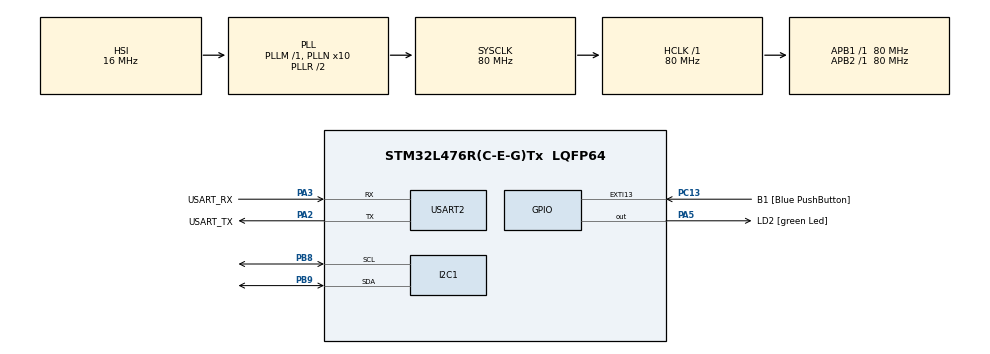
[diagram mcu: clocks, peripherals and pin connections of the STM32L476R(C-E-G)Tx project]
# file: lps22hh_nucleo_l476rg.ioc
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I2C1.Timing=0x10909CEC
Mcu.Family=STM32L4
Mcu.Name=STM32L476R(C-E-G)Tx
Mcu.Package=LQFP64
NVIC.PriorityGroup=NVIC_PRIORITYGROUP_4
PA13\ (JTMS-SWDIO).GPIO_Label=TMS
PA13\ (JTMS-SWDIO).Mode=Serial_Wire
PA13\ (JTMS-SWDIO).Signal=SYS_JTMS-SWDIO
PA14\ (JTCK-SWCLK).GPIO_Label=TCK
PA14\ (JTCK-SWCLK).Mode=Serial_Wire
PA14\ (JTCK-SWCLK).Signal=SYS_JTCK-SWCLK
PA2.GPIO_Label=USART_TX
PA2.GPIO_Mode=GPIO_MODE_AF_PP
PA2.GPIO_PuPd=GPIO_NOPULL
PA2.GPIO_Speed=GPIO_SPEED_FREQ_VERY_HIGH
PA2.Mode=Asynchronous
PA2.Signal=USART2_TX
PA3.GPIO_Label=USART_RX
PA3.GPIO_Mode=GPIO_MODE_AF_PP
PA3.GPIO_PuPd=GPIO_NOPULL
PA3.GPIO_Speed=GPIO_SPEED_FREQ_VERY_HIGH
PA3.Mode=Asynchronous
PA3.Signal=USART2_RX
PA5.GPIO_Label=LD2 [green Led]
PA5.GPIO_ModeDefaultOutputPP=GPIO_MODE_OUTPUT_PP
PA5.GPIO_PuPd=GPIO_NOPULL
PA5.GPIO_Speed=GPIO_SPEED_FREQ_LOW
PA5.Signal=GPIO_Output
PB3\ (JTDO-TRACESWO).GPIO_Label=SWO
PB3\ (JTDO-TRACESWO).Signal=SYS_JTDO-SWO
PB8.Mode=I2C
PB8.Signal=I2C1_SCL
PB9.Mode=I2C
PB9.Signal=I2C1_SDA
PC13.GPIO_Label=B1 [Blue PushButton]
PC13.GPIO_ModeDefaultEXTI=GPIO_MODE_IT_FALLING
PC13.GPIO_PuPd=GPIO_NOPULL
PC13.Signal=GPXTI13
PC14-OSC32_IN\ (PC14).Mode=LSE-External-Oscillator
PC14-OSC32_IN\ (PC14).Signal=RCC_OSC32_IN
PC15-OSC32_OUT\ (PC15).Mode=LSE-External-Oscillator
PC15-OSC32_OUT\ (PC15).Signal=RCC_OSC32_OUT
PH0-OSC_IN\ (PH0).Signal=RCC_OSC_IN
PH1-OSC_OUT\ (PH1).Signal=RCC_OSC_OUT
ProjectManager.HeapSize=0x200
ProjectManager.StackSize=0x400
ProjectManager.TargetToolchain=STM32CubeIDE
RCC.ADCFreq_Value=64000000
RCC.AHBFreq_Value=80000000
RCC.APB1Freq_Value=80000000
RCC.APB1TimFreq_Value=80000000
RCC.APB2Freq_Value=80000000
RCC.APB2TimFreq_Value=80000000
RCC.CortexFreq_Value=80000000
RCC.HCLKFreq_Value=80000000
RCC.HSE_VALUE=8000000
RCC.HSI_VALUE=16000000
RCC.MSI_VALUE=4000000
RCC.PLLN=10
RCC.PLLSourceVirtual=RCC_PLLSOURCE_HSI
RCC.PREFETCH_ENABLE=1
RCC.SYSCLKFreq_VALUE=80000000
RCC.SYSCLKSource=RCC_SYSCLKSOURCE_PLLCLK
RCC.USBFreq_Value=64000000
RCC.VCOOutputFreq_Value=160000000
USART2.VirtualMode-Asynchronous=VM_ASYNC
board=NUCLEO-L476RG

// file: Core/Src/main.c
/* USER CODE BEGIN Header */
/**
  ******************************************************************************
  * @file           : main.c
  * @brief          : Main program body
  ******************************************************************************
  * @attention
  *
  * Copyright (c) 2023 STMicroelectronics.
  * All rights reserved.
  *
  * This software is licensed under terms that can be found in the LICENSE file
  * in the root directory of this software component.
  * If no LICENSE file comes with this software, it is provided AS-IS.
  *
  ******************************************************************************
  */
/* USER CODE END Header */
#include "main.h"
#include "i2c.h"
#include "usart.h"
#include "gpio.h"

/* USER CODE BEGIN Includes */
#include <string.h>
#include <stdio.h>
#include "lps22hh_reg.h"
/* USER CODE END Includes */

/* USER CODE BEGIN PV */
static uint32_t data_raw_pressure;
static int16_t data_raw_temperature;
static float pressure_hPa;
static float temperature_degC;
static uint8_t whoamI, rst;
static uint8_t tx_buffer[1000];
/* USER CODE END PV */

void SystemClock_Config(void);
/* USER CODE BEGIN PFP */
#ifdef __GNUC__
/* With GCC/RAISONANCE, small printf (option LD Linker->Libraries->Small printf
set to 'Yes') calls __io_putchar() */
#define PUTCHAR_PROTOTYPE int __io_putchar(int ch)
#else
#define PUTCHAR_PROTOTYPE int fputc(int ch, FILE *f)
#endif /* __GNUC__ */
static int32_t platform_write(void *handle, uint8_t reg, const uint8_t *bufp,
                              uint16_t len);
static int32_t platform_read(void *handle, uint8_t reg, uint8_t *bufp,
                             uint16_t len);
/* USER CODE END PFP */

int main(void)
{
  /* USER CODE BEGIN 1 */
	stmdev_ctx_t dev_ctx;
	lps22hh_reg_t reg;
	/* Initialize mems driver interface */
	dev_ctx.write_reg = platform_write;
	dev_ctx.read_reg = platform_read;
	dev_ctx.handle = &hi2c1;
  /* USER CODE END 1 */

  /* MCU Configuration--------------------------------------------------------*/

  /* Reset of all peripherals, Initializes the Flash interface and the Systick. */
  HAL_Init();

  /* Configure the system clock */
  SystemClock_Config();

  /* Initialize all configured peripherals */
  MX_GPIO_Init();
  MX_I2C1_Init();
  MX_USART2_UART_Init();
  /* USER CODE BEGIN 2 */
  /* Check device ID */
    whoamI = 0;
    lps22hh_device_id_get(&dev_ctx, &whoamI);

    if ( whoamI != LPS22HH_ID )
      while (1); /*manage here device not found */

    /* Restore default configuration */
    lps22hh_reset_set(&dev_ctx, PROPERTY_ENABLE);

    do {
      lps22hh_reset_get(&dev_ctx, &rst);
    } while (rst);

    /* Enable Block Data Update */
    lps22hh_block_data_update_set(&dev_ctx, PROPERTY_ENABLE);
    /* Set Output Data Rate */
    lps22hh_data_rate_set(&dev_ctx, LPS22HH_10_Hz_LOW_NOISE);
  /* USER CODE END 2 */

  /* Infinite loop */
  while (1)
  {

    /* USER CODE BEGIN 3 */
	 /* Read output only if new value is available */
	 lps22hh_read_reg(&dev_ctx, LPS22HH_STATUS, (uint8_t *)&reg, 1);

	  if (reg.status.p_da) {
		memset(&data_raw_pressure, 0x00, sizeof(uint32_t));
		lps22hh_pressure_raw_get(&dev_ctx, &data_raw_pressure);
		pressure_hPa = lps22hh_from_lsb_to_hpa( data_raw_pressure);
		sprintf((char *)tx_buffer, "pressure [hPa]:%6.2f\r\n", pressure_hPa);
		printf((char *)tx_buffer);
	  }

	  if (reg.status.t_da) {
		memset(&data_raw_temperature, 0x00, sizeof(int16_t));
		lps22hh_temperature_raw_get(&dev_ctx, &data_raw_temperature);
		temperature_degC = lps22hh_from_lsb_to_celsius(
							 data_raw_temperature );
		sprintf((char *)tx_buffer, "temperature [degC]:%6.2f\r\n",
				temperature_degC );
		printf((char *)tx_buffer);
	  }
  }
  /* USER CODE END 3 */
}

void SystemClock_Config(void)
{
  RCC_OscInitTypeDef RCC_OscInitStruct = {0};
  RCC_ClkInitTypeDef RCC_ClkInitStruct = {0};

  /** Configure the main internal regulator output voltage
  */
  if (HAL_PWREx_ControlVoltageScaling(PWR_REGULATOR_VOLTAGE_SCALE1) != HAL_OK)
  {
    Error_Handler();
  }

  /** Initializes the RCC Oscillators according to the specified parameters
  * in the RCC_OscInitTypeDef structure.
  */
  RCC_OscInitStruct.OscillatorType = RCC_OSCILLATORTYPE_HSI;
  RCC_OscInitStruct.HSIState = RCC_HSI_ON;
  RCC_OscInitStruct.HSICalibrationValue = RCC_HSICALIBRATION_DEFAULT;
  RCC_OscInitStruct.PLL.PLLState = RCC_PLL_ON;
  RCC_OscInitStruct.PLL.PLLSource = RCC_PLLSOURCE_HSI;
  RCC_OscInitStruct.PLL.PLLM = 1;
  RCC_OscInitStruct.PLL.PLLN = 10;
  RCC_OscInitStruct.PLL.PLLP = RCC_PLLP_DIV7;
  RCC_OscInitStruct.PLL.PLLQ = RCC_PLLQ_DIV2;
  RCC_OscInitStruct.PLL.PLLR = RCC_PLLR_DIV2;
  if (HAL_RCC_OscConfig(&RCC_OscInitStruct) != HAL_OK)
  {
    Error_Handler();
  }

  /** Initializes the CPU, AHB and APB buses clocks
  */
  RCC_ClkInitStruct.ClockType = RCC_CLOCKTYPE_HCLK|RCC_CLOCKTYPE_SYSCLK
                              |RCC_CLOCKTYPE_PCLK1|RCC_CLOCKTYPE_PCLK2;
  RCC_ClkInitStruct.SYSCLKSource = RCC_SYSCLKSOURCE_PLLCLK;
  RCC_ClkInitStruct.AHBCLKDivider = RCC_SYSCLK_DIV1;
  RCC_ClkInitStruct.APB1CLKDivider = RCC_HCLK_DIV1;
  RCC_ClkInitStruct.APB2CLKDivider = RCC_HCLK_DIV1;

  if (HAL_RCC_ClockConfig(&RCC_ClkInitStruct, FLASH_LATENCY_4) != HAL_OK)
  {
    Error_Handler();
  }
}

/* USER CODE BEGIN 4 */
PUTCHAR_PROTOTYPE
{
	/* Place your implementation of fputc here */
	/* e.g. write a character to the USART2 and Loop until the end of transmission */
	HAL_UART_Transmit(&huart2, (uint8_t *)&ch, 1, 100);

	return ch;
}

static int32_t platform_write(void *handle, uint8_t reg, const uint8_t *bufp,
                              uint16_t len)
{
  HAL_I2C_Mem_Write(handle, LPS22HH_I2C_ADD_H, reg,
                    I2C_MEMADD_SIZE_8BIT, (uint8_t*) bufp, len, 1000);
  return 0;
}

/*
 * @brief  Read generic device register (platform dependent)
 *
 * @param  handle    customizable argument. In this examples is used in
 *                   order to select the correct sensor bus handler.
 * @param  reg       register to read
 * @param  bufp      pointer to buffer that store the data read
 * @param  len       number of consecutive register to read
 *
 */
static int32_t platform_read(void *handle, uint8_t reg, uint8_t *bufp,
                             uint16_t len)
{
  HAL_I2C_Mem_Read(handle, LPS22HH_I2C_ADD_H, reg,
                   I2C_MEMADD_SIZE_8BIT, bufp, len, 1000);
  return 0;
}
/* USER CODE END 4 */

void Error_Handler(void)
{
  __disable_irq();
  while (1)
  {
  }
}
